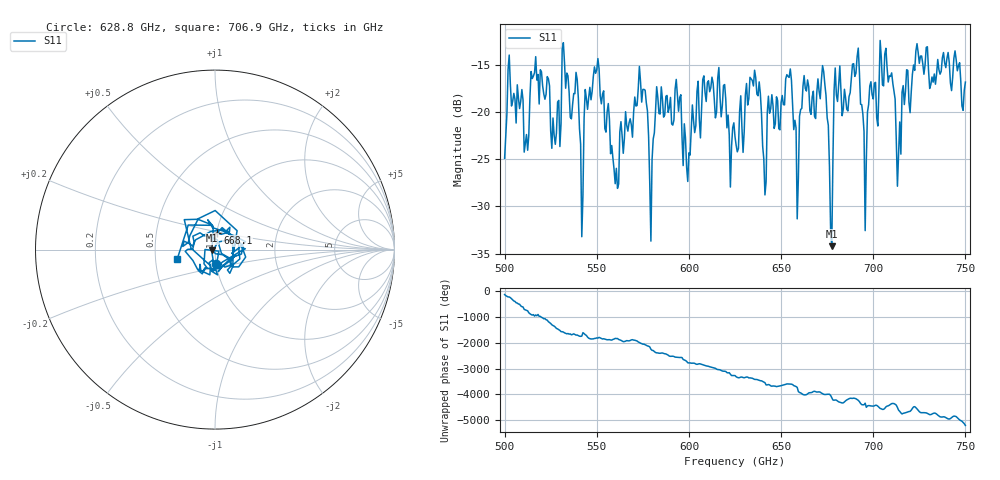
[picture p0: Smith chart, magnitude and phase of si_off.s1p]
!Created with skrf (http://scikit-rf.org).
# GHz S RI R 50.0
!freq ReS11 ImS11
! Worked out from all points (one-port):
!   401 points, 500 GHz to 750 GHz, reference 50 ohm
!   lowest |S11| = -34.2 dB at 677.5 GHz (marker M1), VSWR 1.04, Z = 48.1 - j0.341 ohm
!   |S11| at or under -10 dB: start of sweep to end of sweep
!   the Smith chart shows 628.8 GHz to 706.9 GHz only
!   S11 on the Smith chart (normalised r, x): 628.8 GHz: 1.00, -0.17; 668.1 GHz: 1.01, +0.19; 706.9 GHz: 0.65, -0.07
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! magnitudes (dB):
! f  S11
! 500 GHz  -24.9
! 503.1 GHz  -17.1
! 511.9 GHz  -22.4
! 515.6 GHz  -16.2
! 526.2 GHz  -20.6
! 531.2 GHz  -13.2
! 538.8 GHz  -15.8
! 541.9 GHz  -33.2
! 550 GHz  -15.5
! 562.5 GHz  -22.1
! 593.8 GHz  -18.3
! 599.4 GHz  -27.4
! 611.2 GHz  -17.9
! 625 GHz  -22.6
! 628.8 GHz  -21.6
! 656.2 GHz  -19.4
! 658.1 GHz  -21.7
! 668.1 GHz  -20.5
! 673.1 GHz  -15.7
! 677.5 GHz  -34.2
! 680 GHz  -18.2
! 687.5 GHz  -18.0
! 691.2 GHz  -14.2
! 695.6 GHz  -32.6
! 706.9 GHz  -13.3
! 713.8 GHz  -24.5
! 718.8 GHz  -15.6
! 750 GHz  -16.8
